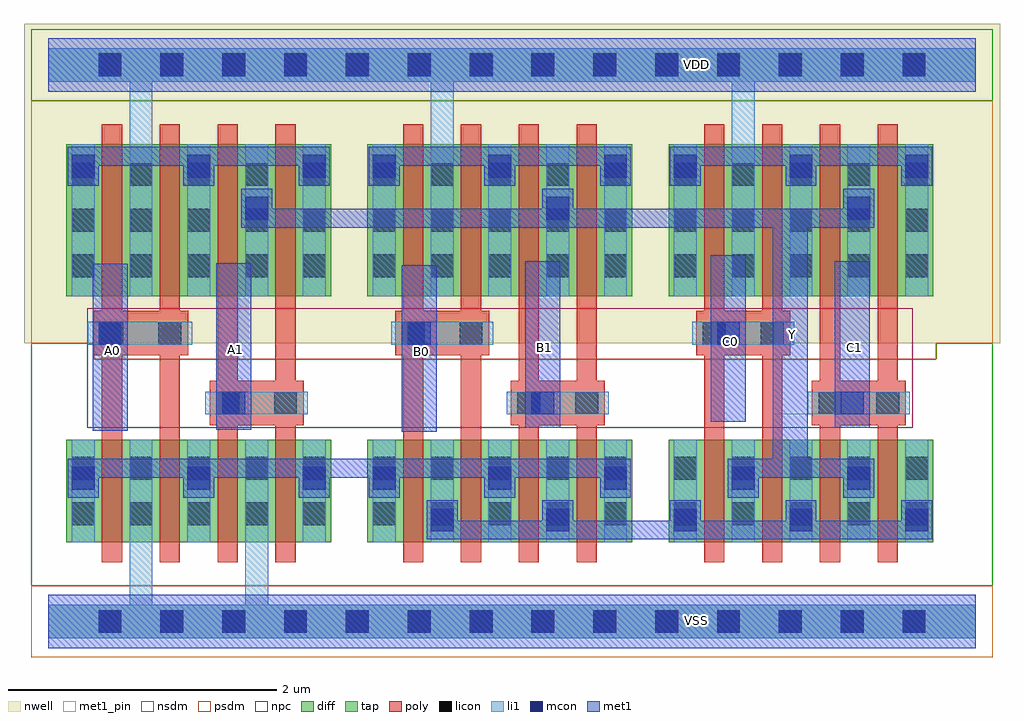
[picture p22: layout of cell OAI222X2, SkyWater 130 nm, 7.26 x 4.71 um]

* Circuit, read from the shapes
.subckt OAI222X2 A0 A1 B0 B1 C0 C1 VDD VSS Y
XM1 VSS A0 n1 VSS sky130_fd_pr__nfet_01v8 w=0.76 l=0.15 m=2
XM2 VSS A1 n1 VSS sky130_fd_pr__nfet_01v8 w=0.76 l=0.15 m=2
XM3 n2 B0 n1 VSS sky130_fd_pr__nfet_01v8 w=0.76 l=0.15 m=2
XM4 n2 B1 n1 VSS sky130_fd_pr__nfet_01v8 w=0.76 l=0.15 m=2
XM5 Y C0 n2 VSS sky130_fd_pr__nfet_01v8 w=0.76 l=0.15 m=2
XM6 Y C1 n2 VSS sky130_fd_pr__nfet_01v8 w=0.76 l=0.15 m=2
XM7 VDD A0 n3 VDD sky130_fd_pr__pfet_01v8 w=1.13 l=0.15 m=2
XM8 Y A1 n3 VDD sky130_fd_pr__pfet_01v8 w=1.13 l=0.15 m=2
XM9 VDD B0 n4 VDD sky130_fd_pr__pfet_01v8 w=1.13 l=0.15 m=2
XM10 Y B1 n4 VDD sky130_fd_pr__pfet_01v8 w=1.13 l=0.15 m=2
XM11 VDD C0 n5 VDD sky130_fd_pr__pfet_01v8 w=1.13 l=0.15 m=2
XM12 Y C1 n5 VDD sky130_fd_pr__pfet_01v8 w=1.13 l=0.15 m=2
.ends

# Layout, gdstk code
from math import pi, radians
import gdstk
lib = gdstk.Library(unit=1e-6, precision=1e-09)
def R(c, l, rs):  # rectangles x0, y0, x1, y1
    for r in rs: c.add(gdstk.rectangle(r[:2], r[2:], *l))
def A(c, l, x, y, w, h, nx, ny, dx, dy):  # array of equal rectangles
    R(c, l, [(x+i*dx, y+j*dy, x+i*dx+w, y+j*dy+h) for i in range(nx) for j in range(ny)])
def P(c, l, *ps):  # polygons
    for p in ps: c.add(gdstk.Polygon(p, *l))
nwell = (64, 20)
diff = (65, 20)
tap = (65, 44)
poly = (66, 20)
licon = (66, 44)
li1 = (67, 20)
mcon = (67, 44)
met1_pin = (68, 16)
met1 = (68, 20)
nsdm = (93, 44)
psdm = (94, 20)
npc = (95, 20)

nfet_01v8_cdns_715785618 = lib.new_cell('nfet_01v8_CDNS_71578561820125')
R(nfet_01v8_cdns_715785618, diff, [(-0.055,0,0,0.76), (0,0,0.15,0.76), (0.15,0,0.43,0.76), (0.43,0,0.58,0.76), (0.58,0,0.845,0.76)])
R(nfet_01v8_cdns_715785618, poly, [(0,-0.15,0.15,-0.095), (0.43,-0.15,0.58,-0.095), (0,-0.095,0.15,0), (0.43,-0.095,0.58,0), (0,0,0.15,0.76), (0.43,0,0.58,0.76), (0,0.76,0.15,0.855), (0.43,0.76,0.58,0.855), (0,0.855,0.15,0.91), (0.43,0.855,0.58,0.91)])
R(nfet_01v8_cdns_715785618, licon, [(0.205,0.125,0.375,0.295), (0.635,0.125,0.805,0.295), (0.205,0.465,0.375,0.635), (0.635,0.465,0.805,0.635)])
R(nfet_01v8_cdns_715785618, li1, [(0.205,0,0.375,0.76), (0.635,0,0.805,0.76)])
R(nfet_01v8_cdns_715785618, nsdm, [(-0.065,-0.13,0.985,0.89)])

c_nfet_01v8_cdns_715785618 = lib.new_cell('nfet_01v8_CDNS_71578561820124')
R(c_nfet_01v8_cdns_715785618, diff, [(-0.265,0,0,0.76), (0,0,0.15,0.76), (0.15,0,0.43,0.76), (0.43,0,0.58,0.76), (0.58,0,0.805,0.76)])
R(c_nfet_01v8_cdns_715785618, poly, [(0,-0.15,0.15,-0.095), (0.43,-0.15,0.58,-0.095), (0,-0.095,0.15,0), (0.43,-0.095,0.58,0), (0,0,0.15,0.76), (0.43,0,0.58,0.76), (0,0.76,0.15,0.855), (0.43,0.76,0.58,0.855), (0,0.855,0.15,0.91), (0.43,0.855,0.58,0.91)])
A(c_nfet_01v8_cdns_715785618, licon, -0.225, 0.125, 0.17, 0.17, 3, 2, 0.43, 0.34)
A(c_nfet_01v8_cdns_715785618, li1, -0.225, 0, 0.17, 0.76, 3, 1, 0.43, 0)
R(c_nfet_01v8_cdns_715785618, nsdm, [(-0.405,-0.13,0.815,0.89)])

pfet_01v8_cdns_715785618 = lib.new_cell('pfet_01v8_CDNS_71578561820122')
R(pfet_01v8_cdns_715785618, nwell, [(-0.235,-0.18,1.025,1.31)])
R(pfet_01v8_cdns_715785618, diff, [(-0.055,0,0,1.13), (0,0,0.15,1.13), (0.15,0,0.43,1.13), (0.43,0,0.58,1.13), (0.58,0,0.845,1.13)])
R(pfet_01v8_cdns_715785618, poly, [(0,-0.15,0.15,-0.095), (0.43,-0.15,0.58,-0.095), (0,-0.095,0.15,0), (0.43,-0.095,0.58,0), (0,0,0.15,1.13), (0.43,0,0.58,1.13), (0,1.13,0.15,1.225), (0.43,1.13,0.58,1.225), (0,1.225,0.15,1.28), (0.43,1.225,0.58,1.28)])
A(pfet_01v8_cdns_715785618, licon, 0.205, 0.14, 0.17, 0.17, 1, 3, 0, 0.34)
A(pfet_01v8_cdns_715785618, licon, 0.635, 0.14, 0.17, 0.17, 1, 3, 0, 0.34)
R(pfet_01v8_cdns_715785618, li1, [(0.205,0,0.375,1.13), (0.635,0,0.805,1.13)])
R(pfet_01v8_cdns_715785618, psdm, [(-0.065,-0.13,0.985,1.26)])

c_pfet_01v8_cdns_715785618 = lib.new_cell('pfet_01v8_CDNS_7157856182067')
R(c_pfet_01v8_cdns_715785618, nwell, [(-0.445,-0.18,0.985,1.31)])
R(c_pfet_01v8_cdns_715785618, diff, [(-0.265,0,0,1.13), (0,0,0.15,1.13), (0.15,0,0.43,1.13), (0.43,0,0.58,1.13), (0.58,0,0.805,1.13)])
R(c_pfet_01v8_cdns_715785618, poly, [(0,-0.15,0.15,-0.095), (0.43,-0.15,0.58,-0.095), (0,-0.095,0.15,0), (0.43,-0.095,0.58,0), (0,0,0.15,1.13), (0.43,0,0.58,1.13), (0,1.13,0.15,1.225), (0.43,1.13,0.58,1.225), (0,1.225,0.15,1.28), (0.43,1.225,0.58,1.28)])
A(c_pfet_01v8_cdns_715785618, licon, -0.225, 0.14, 0.17, 0.17, 3, 3, 0.43, 0.34)
A(c_pfet_01v8_cdns_715785618, li1, -0.225, 0, 0.17, 1.13, 3, 1, 0.43, 0)
R(c_pfet_01v8_cdns_715785618, psdm, [(-0.405,-0.13,0.815,1.26)])

l1m1_c_cdns_715785618202 = lib.new_cell('L1M1_C_CDNS_715785618202')
R(l1m1_c_cdns_715785618202, li1, [(-0.085,-0.165,0.085,0.165)])
R(l1m1_c_cdns_715785618202, mcon, [(-0.085,-0.085,0.085,0.085)])
R(l1m1_c_cdns_715785618202, met1, [(-0.115,-0.145,0.115,0.145)])

pyl1con_c_cdns_715785618 = lib.new_cell('PYL1CON_C_CDNS_715785618200')
R(pyl1con_c_cdns_715785618, poly, [(-0.135,-0.165,0.135,0.165)])
R(pyl1con_c_cdns_715785618, licon, [(-0.085,-0.085,0.085,0.085)])
R(pyl1con_c_cdns_715785618, npc, [(-0.185,-0.185,0.185,0.185)])

l1m1_c_cdns_715785618203 = lib.new_cell('L1M1_C_CDNS_715785618203')
R(l1m1_c_cdns_715785618203, li1, [(-0.165,-0.085,0.165,0.085)])
R(l1m1_c_cdns_715785618203, mcon, [(-0.085,-0.085,0.085,0.085)])
R(l1m1_c_cdns_715785618203, met1, [(-0.115,-0.145,0.115,0.145)])

oai222x2 = lib.new_cell('OAI222X2')
R(oai222x2, nwell, [(-0.18,2.07,7.08,4.305), (-0.18,3.875,7.08,4.445)])
A(oai222x2, licon, 0.375, -0.085, 0.17, 0.17, 14, 2, 0.46, 4.14)
A(oai222x2, mcon, 0.375, -0.085, 0.17, 0.17, 14, 2, 0.46, 4.14)
R(oai222x2, met1_pin, [(2.63,1.41,2.89,2.65), (0.33,1.42,0.59,2.66), (1.25,1.425,1.51,2.665), (3.55,1.44,3.81,2.68), (5.85,1.44,6.11,2.68), (4.93,1.485,5.19,2.725), (5.39,1.54,5.65,2.78)])
R(oai222x2, nsdm, [(-0.125,3.875,7.025,4.405), (-0.125,3.93,7.025,4.35)])
P(oai222x2, nsdm, [(7.025,2.07),(6.605,2.07),(6.605,1.95),(0.34,1.95),(0.34,2.07),(-0.125,2.07),(-0.125,0.265),(7.025,0.265)])
R(oai222x2, psdm, [(-0.125,-0.265,7.025,0.265), (-0.125,-0.21,7.025,0.21)])
P(oai222x2, psdm, [(7.025,3.875),(-0.125,3.875),(-0.125,2.07),(0.34,2.07),(0.34,1.95),(6.605,1.95),(6.605,2.07),(7.025,2.07)])
R(oai222x2, npc, [(0.29,1.44,6.43,2.33)])
oai222x2.add(gdstk.FlexPath([(5.815,1.625),(6.245,1.625)], 0.33, ends="flush", simple_path=True, layer=66, datatype=20))  # poly
oai222x2.add(gdstk.FlexPath([(4.955,2.145),(5.385,2.145)], 0.33, ends="flush", simple_path=True, layer=66, datatype=20))  # poly
oai222x2.add(gdstk.FlexPath([(0.905,2.325),(0.905,1.445)], 0.15, ends="flush", simple_path=True, layer=66, datatype=20))  # poly
oai222x2.add(gdstk.FlexPath([(1.765,2.325),(1.765,1.445)], 0.15, ends="flush", simple_path=True, layer=66, datatype=20))  # poly
oai222x2.add(gdstk.FlexPath([(3.575,2.325),(3.575,1.445)], 0.15, ends="flush", simple_path=True, layer=66, datatype=20))  # poly
oai222x2.add(gdstk.FlexPath([(2.715,2.325),(2.715,1.445)], 0.15, ends="flush", simple_path=True, layer=66, datatype=20))  # poly
oai222x2.add(gdstk.FlexPath([(5.385,2.325),(5.385,1.445)], 0.15, ends="flush", simple_path=True, layer=66, datatype=20))  # poly
oai222x2.add(gdstk.FlexPath([(6.245,2.325),(6.245,1.445)], 0.15, ends="flush", simple_path=True, layer=66, datatype=20))  # poly
oai222x2.add(gdstk.FlexPath([(1.335,1.625),(1.765,1.625)], 0.33, ends="flush", simple_path=True, layer=66, datatype=20))  # poly
oai222x2.add(gdstk.FlexPath([(2.715,2.145),(3.145,2.145)], 0.33, ends="flush", simple_path=True, layer=66, datatype=20))  # poly
oai222x2.add(gdstk.FlexPath([(0.475,2.325),(0.475,1.445)], 0.15, ends="flush", simple_path=True, layer=66, datatype=20))  # poly
oai222x2.add(gdstk.FlexPath([(1.335,2.325),(1.335,1.445)], 0.15, ends="flush", simple_path=True, layer=66, datatype=20))  # poly
oai222x2.add(gdstk.FlexPath([(4.005,2.325),(4.005,1.445)], 0.15, ends="flush", simple_path=True, layer=66, datatype=20))  # poly
oai222x2.add(gdstk.FlexPath([(3.145,2.325),(3.145,1.445)], 0.15, ends="flush", simple_path=True, layer=66, datatype=20))  # poly
oai222x2.add(gdstk.FlexPath([(4.955,2.325),(4.955,1.445)], 0.15, ends="flush", simple_path=True, layer=66, datatype=20))  # poly
oai222x2.add(gdstk.FlexPath([(5.815,2.325),(5.815,1.445)], 0.15, ends="flush", simple_path=True, layer=66, datatype=20))  # poly
oai222x2.add(gdstk.FlexPath([(0.475,2.145),(0.905,2.145)], 0.33, ends="flush", simple_path=True, layer=66, datatype=20))  # poly
oai222x2.add(gdstk.FlexPath([(3.575,1.625),(4.005,1.625)], 0.33, ends="flush", simple_path=True, layer=66, datatype=20))  # poly
oai222x2.add(gdstk.FlexPath([(5.65,1.625),(6.41,1.625)], 0.17, ends="flush", simple_path=True, layer=67, datatype=20))  # li1
oai222x2.add(gdstk.FlexPath([(4.79,2.145),(5.55,2.145)], 0.17, ends="flush", simple_path=True, layer=67, datatype=20))  # li1
oai222x2.add(gdstk.FlexPath([(3.41,1.625),(4.17,1.625)], 0.17, ends="flush", simple_path=True, layer=67, datatype=20))  # li1
oai222x2.add(gdstk.FlexPath([(1.17,1.625),(1.93,1.625)], 0.17, ends="flush", simple_path=True, layer=67, datatype=20))  # li1
oai222x2.add(gdstk.FlexPath([(0.31,2.145),(1.07,2.145)], 0.17, ends="flush", simple_path=True, layer=67, datatype=20))  # li1
oai222x2.add(gdstk.FlexPath([(2.55,2.145),(3.31,2.145)], 0.17, ends="flush", simple_path=True, layer=67, datatype=20))  # li1
oai222x2.add(gdstk.FlexPath([(0,0),(6.9,0)], 0.25, ends="flush", simple_path=True, layer=67, datatype=20))  # li1
oai222x2.add(gdstk.FlexPath([(0,4.14),(6.9,4.14)], 0.25, ends="flush", simple_path=True, layer=67, datatype=20))  # li1
oai222x2.add(gdstk.FlexPath([(2.93,3.22),(2.93,4.265)], 0.17, ends="flush", simple_path=True, layer=67, datatype=20))  # li1
oai222x2.add(gdstk.FlexPath([(0.69,-0.125),(0.69,1.3)], 0.17, ends="flush", simple_path=True, layer=67, datatype=20))  # li1
oai222x2.add(gdstk.FlexPath([(0.69,3.22),(0.69,4.265)], 0.17, ends="flush", simple_path=True, layer=67, datatype=20))  # li1
oai222x2.add(gdstk.FlexPath([(5.17,3.22),(5.17,4.265)], 0.17, ends="flush", simple_path=True, layer=67, datatype=20))  # li1
oai222x2.add(gdstk.FlexPath([(1.55,-0.125),(1.55,1.3)], 0.17, ends="flush", simple_path=True, layer=67, datatype=20))  # li1
oai222x2.add(gdstk.FlexPath([(0,0),(6.9,0)], 0.25, ends="flush", simple_path=True, layer=65, datatype=44))  # tap
oai222x2.add(gdstk.FlexPath([(0,4.14),(6.9,4.14)], 0.25, ends="flush", simple_path=True, layer=65, datatype=44))  # tap
oai222x2.add(gdstk.FlexPath([(1.38,1.425),(1.38,2.665)], 0.26, ends="flush", simple_path=True, layer=68, datatype=20))  # met1
oai222x2.add(gdstk.FlexPath([(2.76,1.41),(2.76,2.65)], 0.26, ends="flush", simple_path=True, layer=68, datatype=20))  # met1
oai222x2.add(gdstk.FlexPath([(3.68,1.44),(3.68,2.68)], 0.26, ends="flush", simple_path=True, layer=68, datatype=20))  # met1
oai222x2.add(gdstk.FlexPath([(5.06,1.485),(5.06,2.725)], 0.26, ends="flush", simple_path=True, layer=68, datatype=20))  # met1
oai222x2.add(gdstk.FlexPath([(5.98,1.44),(5.98,2.68)], 0.26, ends="flush", simple_path=True, layer=68, datatype=20))  # met1
oai222x2.add(gdstk.FlexPath([(0.46,1.42),(0.46,2.66)], 0.26, ends="flush", simple_path=True, layer=68, datatype=20))  # met1
oai222x2.add(gdstk.FlexPath([(6.145,1.14),(5.055,1.14)], 0.14, ends="flush", simple_path=True, layer=68, datatype=20))  # met1
oai222x2.add(gdstk.FlexPath([(5.17,1.14),(5.055,1.14)], 0.14, ends=(0.115, 0), simple_path=True, layer=68, datatype=20))  # met1
oai222x2.add(gdstk.FlexPath([(1.435,3),(6.03,3)], 0.14, ends=(0, 0.115), simple_path=True, layer=68, datatype=20))  # met1
oai222x2.add(gdstk.FlexPath([(4.335,1.14),(0.145,1.14)], 0.14, ends="flush", simple_path=True, layer=68, datatype=20))  # met1
oai222x2.add(gdstk.FlexPath([(0.145,3.46),(2.095,3.46)], 0.14, ends="flush", simple_path=True, layer=68, datatype=20))  # met1
oai222x2.add(gdstk.FlexPath([(4.625,3.46),(6.575,3.46)], 0.14, ends="flush", simple_path=True, layer=68, datatype=20))  # met1
oai222x2.add(gdstk.FlexPath([(6.145,3),(6.03,3)], 0.14, ends=(0, 0.115), simple_path=True, layer=68, datatype=20))  # met1
oai222x2.add(gdstk.FlexPath([(6.575,0.68),(2.815,0.68)], 0.14, ends="flush", simple_path=True, layer=68, datatype=20))  # met1
oai222x2.add(gdstk.FlexPath([(2.385,3.46),(4.335,3.46)], 0.14, ends="flush", simple_path=True, layer=68, datatype=20))  # met1
oai222x2.add(gdstk.FlexPath([(0.26,1.14),(0.145,1.14)], 0.14, ends=(0.115, 0), simple_path=True, layer=68, datatype=20))  # met1
oai222x2.add(gdstk.FlexPath([(5.52,1.07),(5.52,3.07)], 0.26, ends="flush", simple_path=True, layer=68, datatype=20))  # met1
oai222x2.add(gdstk.FlexPath([(0,4.14),(6.9,4.14)], 0.4, ends="flush", simple_path=True, layer=68, datatype=20))  # met1
oai222x2.add(gdstk.FlexPath([(0,0),(6.9,0)], 0.4, ends="flush", simple_path=True, layer=68, datatype=20))  # met1
oai222x2.add(gdstk.FlexPath([(0,4.14),(6.9,4.14)], 0.4, ends="flush", simple_path=True, layer=68, datatype=16))  # met1_pin
oai222x2.add(gdstk.FlexPath([(0,0),(6.9,0)], 0.4, ends="flush", simple_path=True, layer=68, datatype=16))  # met1_pin
oai222x2.add(gdstk.Reference(nfet_01v8_cdns_715785618, (5.74,0.59)))
oai222x2.add(gdstk.Reference(nfet_01v8_cdns_715785618, (1.26,0.59)))
oai222x2.add(gdstk.Reference(nfet_01v8_cdns_715785618, (3.22,0.59), rotation=pi, x_reflection=True))
oai222x2.add(gdstk.Reference(c_nfet_01v8_cdns_715785618, (4.88,0.59)))
oai222x2.add(gdstk.Reference(c_nfet_01v8_cdns_715785618, (0.4,0.59)))
oai222x2.add(gdstk.Reference(c_nfet_01v8_cdns_715785618, (4.08,0.59), rotation=pi, x_reflection=True))
oai222x2.add(gdstk.Reference(pfet_01v8_cdns_715785618, (5.74,2.42)))
oai222x2.add(gdstk.Reference(pfet_01v8_cdns_715785618, (1.26,2.42)))
oai222x2.add(gdstk.Reference(pfet_01v8_cdns_715785618, (3.22,2.42), rotation=pi, x_reflection=True))
oai222x2.add(gdstk.Reference(c_pfet_01v8_cdns_715785618, (4.88,2.42)))
oai222x2.add(gdstk.Reference(c_pfet_01v8_cdns_715785618, (0.4,2.42)))
oai222x2.add(gdstk.Reference(c_pfet_01v8_cdns_715785618, (4.08,2.42), rotation=pi, x_reflection=True))
oai222x2.add(gdstk.Reference(l1m1_c_cdns_715785618202, (4.74,3.385)))
oai222x2.add(gdstk.Reference(l1m1_c_cdns_715785618202, (5.6,3.385)))
oai222x2.add(gdstk.Reference(l1m1_c_cdns_715785618202, (6.46,3.385)))
oai222x2.add(gdstk.Reference(l1m1_c_cdns_715785618202, (2.5,3.385)))
oai222x2.add(gdstk.Reference(l1m1_c_cdns_715785618202, (3.36,3.385)))
oai222x2.add(gdstk.Reference(l1m1_c_cdns_715785618202, (4.22,3.385)))
oai222x2.add(gdstk.Reference(l1m1_c_cdns_715785618202, (0.26,3.385)))
oai222x2.add(gdstk.Reference(l1m1_c_cdns_715785618202, (1.98,3.385)))
oai222x2.add(gdstk.Reference(l1m1_c_cdns_715785618202, (1.12,3.385)))
oai222x2.add(gdstk.Reference(l1m1_c_cdns_715785618202, (0.26,1.065)))
oai222x2.add(gdstk.Reference(l1m1_c_cdns_715785618202, (1.12,1.065)))
oai222x2.add(gdstk.Reference(l1m1_c_cdns_715785618202, (1.98,1.065)))
oai222x2.add(gdstk.Reference(l1m1_c_cdns_715785618202, (2.5,1.065)))
oai222x2.add(gdstk.Reference(l1m1_c_cdns_715785618202, (4.22,1.065)))
oai222x2.add(gdstk.Reference(l1m1_c_cdns_715785618202, (3.36,1.065)))
oai222x2.add(gdstk.Reference(l1m1_c_cdns_715785618202, (2.93,0.755)))
oai222x2.add(gdstk.Reference(l1m1_c_cdns_715785618202, (3.79,0.755)))
oai222x2.add(gdstk.Reference(l1m1_c_cdns_715785618202, (4.74,0.755)))
oai222x2.add(gdstk.Reference(l1m1_c_cdns_715785618202, (5.6,0.755)))
oai222x2.add(gdstk.Reference(l1m1_c_cdns_715785618202, (6.46,0.755)))
oai222x2.add(gdstk.Reference(l1m1_c_cdns_715785618202, (1.55,3.075)))
oai222x2.add(gdstk.Reference(l1m1_c_cdns_715785618202, (3.79,3.075)))
oai222x2.add(gdstk.Reference(l1m1_c_cdns_715785618202, (5.17,1.065)))
oai222x2.add(gdstk.Reference(l1m1_c_cdns_715785618202, (6.03,1.065)))
oai222x2.add(gdstk.Reference(l1m1_c_cdns_715785618202, (6.03,3.075)))
oai222x2.add(gdstk.Reference(pyl1con_c_cdns_715785618, (5.815,1.625), x_reflection=True))
oai222x2.add(gdstk.Reference(pyl1con_c_cdns_715785618, (6.245,1.625), x_reflection=True))
oai222x2.add(gdstk.Reference(pyl1con_c_cdns_715785618, (4.955,2.145), x_reflection=True))
oai222x2.add(gdstk.Reference(pyl1con_c_cdns_715785618, (5.385,2.145), x_reflection=True))
oai222x2.add(gdstk.Reference(pyl1con_c_cdns_715785618, (3.575,1.625), x_reflection=True))
oai222x2.add(gdstk.Reference(pyl1con_c_cdns_715785618, (4.005,1.625), x_reflection=True))
oai222x2.add(gdstk.Reference(pyl1con_c_cdns_715785618, (2.715,2.145), x_reflection=True))
oai222x2.add(gdstk.Reference(pyl1con_c_cdns_715785618, (0.475,2.145), x_reflection=True))
oai222x2.add(gdstk.Reference(pyl1con_c_cdns_715785618, (0.905,2.145), x_reflection=True))
oai222x2.add(gdstk.Reference(pyl1con_c_cdns_715785618, (1.335,1.625), x_reflection=True))
oai222x2.add(gdstk.Reference(pyl1con_c_cdns_715785618, (1.765,1.625), x_reflection=True))
oai222x2.add(gdstk.Reference(pyl1con_c_cdns_715785618, (3.145,2.145), x_reflection=True))
oai222x2.add(gdstk.Reference(l1m1_c_cdns_715785618203, (5.06,2.145), x_reflection=True))
oai222x2.add(gdstk.Reference(l1m1_c_cdns_715785618203, (5.98,1.625), x_reflection=True))
oai222x2.add(gdstk.Reference(l1m1_c_cdns_715785618203, (2.76,2.145), x_reflection=True))
oai222x2.add(gdstk.Reference(l1m1_c_cdns_715785618203, (3.68,1.625), x_reflection=True))
oai222x2.add(gdstk.Reference(l1m1_c_cdns_715785618203, (1.38,1.625), x_reflection=True))
oai222x2.add(gdstk.Reference(l1m1_c_cdns_715785618203, (0.46,2.145), x_reflection=True))
oai222x2.add(gdstk.Label('VDD', (4.825,4.145), layer=68, texttype=20))
oai222x2.add(gdstk.Label('C0', (5.075,2.08), layer=68, texttype=20))
oai222x2.add(gdstk.Label('B1', (3.695,2.035), layer=68, texttype=20))
oai222x2.add(gdstk.Label('B0', (2.775,2.005), layer=68, texttype=20))
oai222x2.add(gdstk.Label('A1', (1.395,2.02), layer=68, texttype=20))
oai222x2.add(gdstk.Label('A0', (0.475,2.015), layer=68, texttype=20))
oai222x2.add(gdstk.Label('C1', (5.995,2.035), layer=68, texttype=20))
oai222x2.add(gdstk.Label('Y', (5.535,2.135), layer=68, texttype=20))
oai222x2.add(gdstk.Label('VSS', (4.825,0.005), layer=68, texttype=20))

lib.write_gds('OAI222X2.gds')
